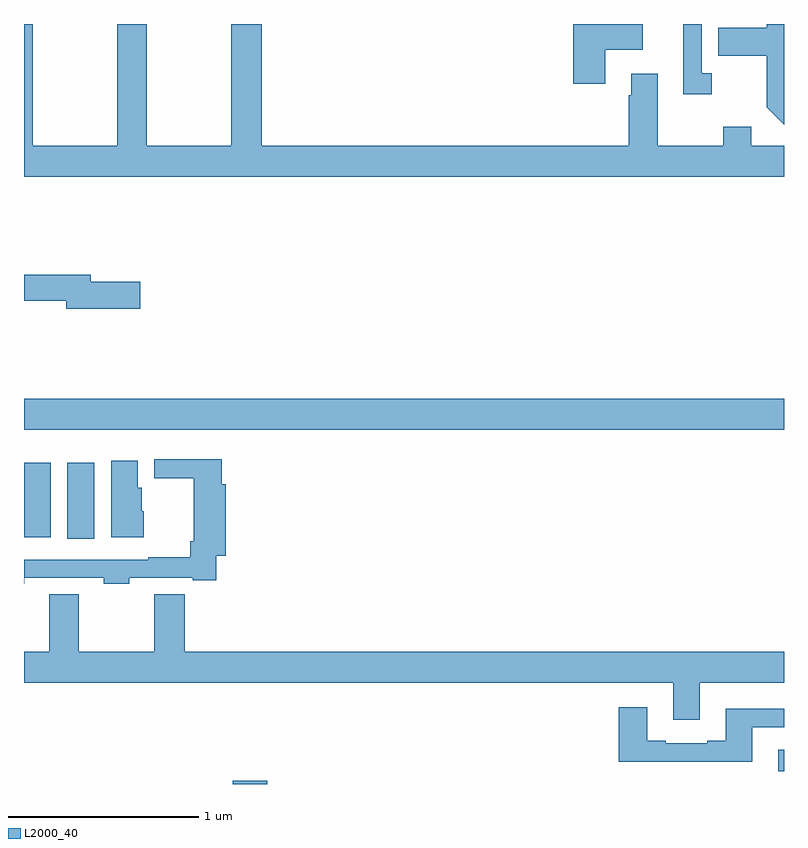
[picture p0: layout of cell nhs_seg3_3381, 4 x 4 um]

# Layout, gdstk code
import gdstk
lib = gdstk.Library(unit=1e-6, precision=1e-09)
def R(c, l, rs):  # rectangles x0, y0, x1, y1
    for r in rs: c.add(gdstk.rectangle(r[:2], r[2:], *l))
def P(c, l, *ps):  # polygons
    for p in ps: c.add(gdstk.Polygon(p, *l))
L2000_40 = (2000, 40)

nhs_seg3_3381 = lib.new_cell('nhs_seg3_3381')
R(nhs_seg3_3381, L2000_40, [(288.098,684.4,288.281,684.418), (290.969,684.467,291,684.58), (287.228,685.692,287.371,686.092), (287,685.7,287.14,686.092), (287,686.264,291,686.428)])
P(nhs_seg3_3381, L2000_40, [(291,687.76),(290.827,687.76),(290.827,687.859),(290.68,687.859),(290.68,687.76),(290.335,687.76),(290.335,688.138),(290.195,688.138),(290.195,688.025),(290.183,688.025),(290.183,687.76),(288.251,687.76),(288.251,688.4),(288.091,688.4),(288.091,687.76),(287.646,687.76),(287.646,688.4),(287.491,688.4),(287.491,687.76),(287.046,687.76),(287.046,688.4),(287,688.4),(287,687.596),(291,687.596)],
  [(290.62,688.142),(290.568,688.142),(290.568,688.4),(290.471,688.4),(290.471,688.029),(290.62,688.029)],
  [(290.059,688.265),(290.257,688.265),(290.257,688.4),(289.892,688.4),(289.892,688.086),(290.059,688.086)],
  [(291,688.4),(290.91,688.4),(290.91,688.381),(290.653,688.381),(290.653,688.234),(290.91,688.234),(290.91,687.961),(291,687.87)],
  [(287.611,687.044),(287.35,687.044),(287.35,687.08),(287,687.08),(287,686.944),(287.222,686.944),(287.222,686.902),(287.611,686.902)],
  [(287.001,685.485),(287.421,685.485),(287.421,685.453),(287.553,685.453),(287.553,685.485),(287.888,685.485),(287.888,685.473),(288.011,685.473),(288.011,685.601),(288.062,685.601),(288.062,685.977),(288.041,685.977),(288.041,686.11),(287.685,686.11),(287.685,686.008),(287.894,686.008),(287.894,685.678),(287.875,685.678),(287.875,685.594),(287.653,685.594),(287.653,685.581),(287,685.581),(287,685.453),(287.001,685.453)],
  [(287.629,685.836),(287.62,685.836),(287.62,685.959),(287.599,685.959),(287.599,686.101),(287.459,686.101),(287.459,685.7),(287.629,685.7)],
  [(290.557,684.932),(291,684.932),(291,685.096),(287.846,685.096),(287.846,685.4),(287.686,685.4),(287.686,685.096),(287.288,685.096),(287.288,685.4),(287.134,685.4),(287.134,685.096),(287,685.096),(287,684.932),(290.417,684.932),(290.417,684.738),(290.557,684.738)],
  [(290.833,684.699),(291,684.699),(291,684.796),(290.693,684.796),(290.693,684.628),(290.597,684.628),(290.597,684.615),(290.377,684.615),(290.377,684.628),(290.281,684.628),(290.281,684.805),(290.129,684.805),(290.129,684.518),(290.833,684.518)])

lib.write_gds('nhs_seg3_3381.gds')
